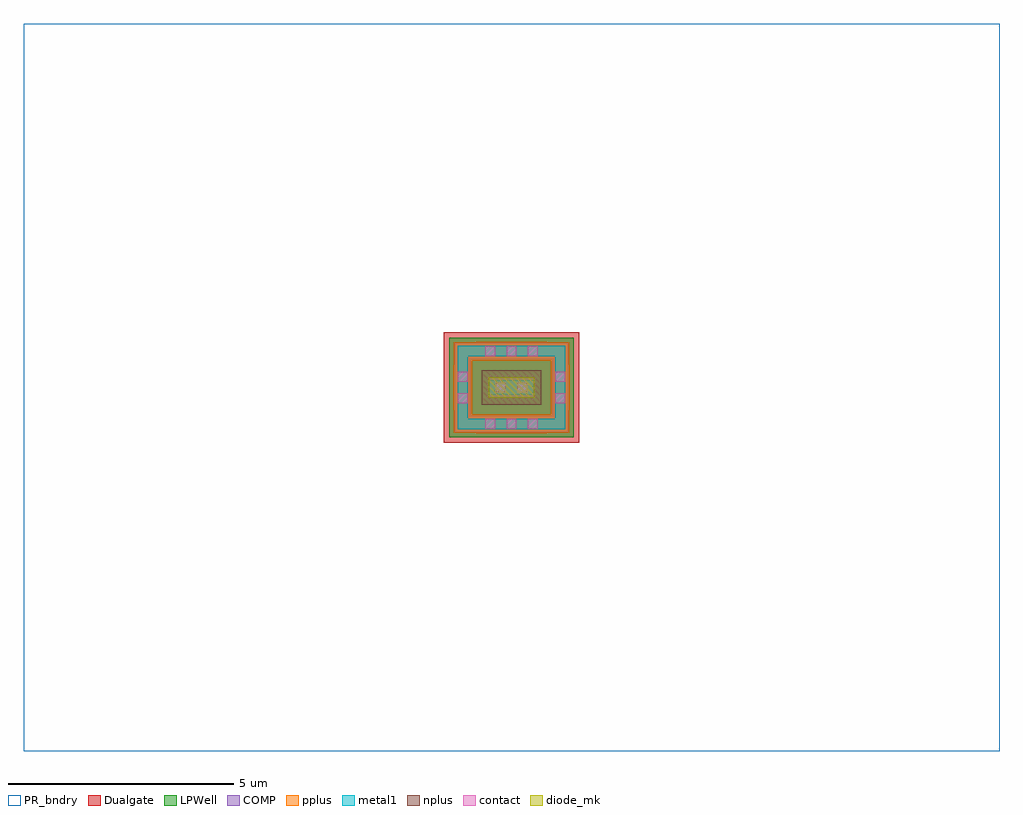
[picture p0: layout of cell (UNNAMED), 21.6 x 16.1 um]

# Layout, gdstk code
import gdstk
lib = gdstk.Library(unit=1e-6, precision=1e-09)
def R(c, l, rs):  # rectangles x0, y0, x1, y1
    for r in rs: c.add(gdstk.rectangle(r[:2], r[2:], *l))
def A(c, l, x, y, w, h, nx, ny, dx, dy):  # array of equal rectangles
    R(c, l, [(x+i*dx, y+j*dy, x+i*dx+w, y+j*dy+h) for i in range(nx) for j in range(ny)])
PR_bndry = (0, 0)
COMP = (22, 0)
pplus = (31, 0)
nplus = (32, 0)
contact = (33, 0)
metal1 = (34, 0)
Dualgate = (55, 0)
diode_mk = (115, 5)
LPWell = (204, 0)

c__unnamed_ = lib.new_cell('(UNNAMED)')
R(c__unnamed_, PR_bndry, [(-10.8,-8.05,10.8,8.05)])
R(c__unnamed_, COMP, [(-1.26,-0.985,1.26,-0.625), (-1.26,-0.625,-0.9,0.625), (0.9,-0.625,1.26,0.625), (-0.5,-0.225,0.5,0.225), (-1.26,0.625,1.26,0.985)])
R(c__unnamed_, pplus, [(-0.775,-1.015,0.775,-1.005), (-1.28,-1.005,1.28,-0.595), (-1.28,-0.595,-0.87,-0.5), (0.87,-0.595,1.28,-0.5), (-1.29,-0.5,-0.87,0.5), (0.87,-0.5,1.29,0.5), (-1.28,0.5,-0.87,0.595), (0.87,0.5,1.28,0.595), (-1.28,0.595,1.28,1.005), (-0.775,1.005,0.775,1.015)])
R(c__unnamed_, nplus, [(-0.66,-0.385,0.66,0.385)])
A(c__unnamed_, contact, -0.58, -0.915, 0.22, 0.22, 3, 2, 0.47, 1.61)
R(c__unnamed_, contact, [(-1.19,-0.345,-0.97,-0.125), (0.97,-0.345,1.19,-0.125), (-0.345,-0.11,-0.125,0.11), (0.125,-0.11,0.345,0.11), (-1.19,0.125,-0.97,0.345), (0.97,0.125,1.19,0.345)])
R(c__unnamed_, metal1, [(-1.195,-0.92,1.195,-0.69), (-1.195,-0.69,-0.965,0.69), (0.965,-0.69,1.195,0.69), (-0.49,-0.16,0.49,0.16), (-1.195,0.69,1.195,0.92)])
R(c__unnamed_, Dualgate, [(-1.5,-1.225,1.5,1.225)])
R(c__unnamed_, diode_mk, [(-0.5,-0.225,0.5,0.225)])
R(c__unnamed_, LPWell, [(-1.38,-1.105,1.38,1.105)])

lib.write_gds('_UNNAMED_.gds')
